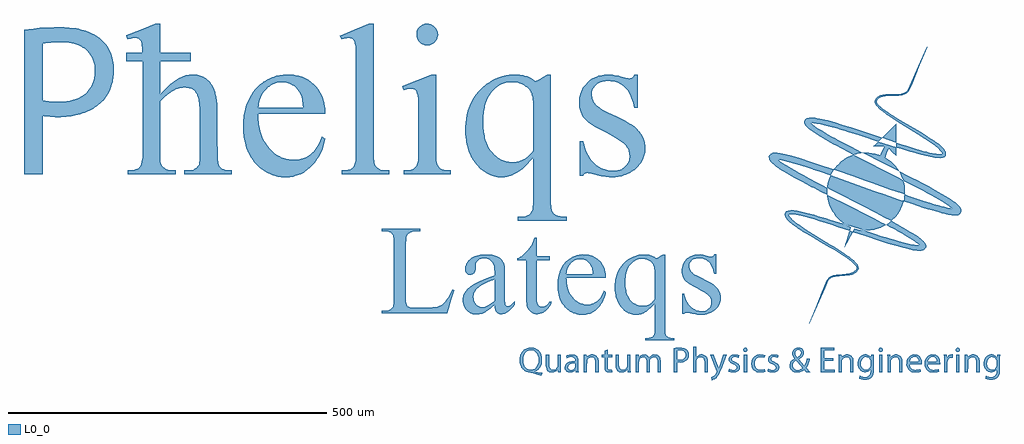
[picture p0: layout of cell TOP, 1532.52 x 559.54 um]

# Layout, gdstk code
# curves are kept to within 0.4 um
import gdstk
lib = gdstk.Library(unit=1e-6, precision=1e-09)
def R(c, l, rs):  # rectangles x0, y0, x1, y1
    for r in rs: c.add(gdstk.rectangle(r[:2], r[2:], *l))
def P(c, l, *ps):  # polygons
    for p in ps: c.add(gdstk.Polygon(p, *l))
L0_0 = (0, 0)

top = lib.new_cell('TOP')
R(top, L0_0, [(1130.4,12.533,1135.44,39.893), (1342.56,12.533,1347.6,39.893), (1463.76,12.533,1468.8,39.893), (1417.92,523.013,1418.16,523.253)])
P(top, L0_0, [(827.16,12.061),(822.6,14.38),(820.103,19.176),(819.604,22.254),(819.604,39.894),(824.644,39.894),(824.644,23.694),(825.145,20.605),(826.115,18.35),(827.4,17.119),(829.32,16.315),(832.211,16.315),(834.703,17.387),(837.72,21.535),(837.866,39.895),(842.88,39.895),(843.183,12.535),(838.607,12.535),(838.267,16.83),(835.625,13.976),(831.999,12.184)],
  [(936.6,12.061),(932.04,14.38),(929.543,19.176),(929.044,22.253),(929.044,39.893),(934.084,39.893),(934.084,23.693),(934.585,20.605),(935.555,18.35),(936.84,17.119),(938.76,16.315),(941.651,16.315),(944.143,17.387),(947.16,21.535),(947.306,39.895),(952.32,39.895),(952.623,12.535),(948.047,12.535),(947.707,16.829),(945.065,13.976),(941.439,12.184)],
  [(1080.273,0),(1079.058,4.231),(1082.52,5.892),(1086.175,9.533),(1087.92,14.003),(1077.6,39.893),(1083.068,39.893),(1090.861,18.479),(1097.937,39.773),(1103.28,39.909),(1094.652,17.097),(1090.227,7.64),(1087.491,4.013),(1084.681,1.741)],
  [(855.72,12.067),(851.314,14.196),(849.774,16.433),(849.12,21.084),(849.88,23.645),(852.247,26.526),(865.731,26.526),(858.232,25.498),(855.87,24.301),(854.627,22.671),(854.097,20.094),(854.653,18.076),(855.936,16.55),(857.4,15.913),(860.34,15.894),(862.363,16.608),(864.144,18.018),(865.553,20.574),(865.731,26.526),(852.247,26.526),(855.771,28.584),(859.8,29.629),(865.5,29.88),(865.264,32.825),(864.261,34.791),(862.785,36.033),(861,36.529),(857.381,36.529),(852.23,34.596),(851.072,37.95),(856.44,40.231),(863.4,40.246),(866.111,39.159),(868.328,37.208),(870.319,32.815),(871.02,12.535),(866.456,12.535),(865.876,15.893),(863.766,13.813),(861.191,12.552)],
  [(1115.454,12.053),(1111.08,12.08),(1105.87,13.943),(1107.13,17.726),(1109.88,16.392),(1115.535,15.893),(1118.629,17.892),(1119.16,19.503),(1118.835,21.43),(1117.629,22.863),(1108.823,27.388),(1107.149,29.693),(1106.574,31.745),(1106.826,34.523),(1108.053,36.945),(1110.503,39.147),(1113.24,40.231),(1119.24,40.253),(1123.018,38.749),(1121.604,35.082),(1118.817,36.357),(1114.68,36.571),(1112.548,35.453),(1111.387,32.517),(1112.245,30.709),(1121.765,25.741),(1123.883,22.013),(1123.919,18.619),(1123.148,16.356),(1120.819,13.808)],
  [(1177.134,12.053),(1172.76,12.08),(1167.55,13.943),(1168.81,17.726),(1171.56,16.392),(1177.215,15.893),(1180.309,17.892),(1180.84,19.503),(1180.515,21.43),(1179.309,22.863),(1170.503,27.388),(1168.829,29.693),(1168.254,31.745),(1168.506,34.523),(1169.733,36.945),(1172.183,39.147),(1174.92,40.231),(1180.92,40.253),(1184.698,38.749),(1183.284,35.082),(1180.497,36.357),(1176.36,36.571),(1174.228,35.453),(1173.067,32.517),(1173.925,30.709),(1183.445,25.741),(1185.563,22.013),(1185.599,18.619),(1184.828,16.356),(1182.499,13.808)],
  [(960.72,12.533),(960.409,39.912),(964.922,39.773),(965.062,35.524),(967.95,38.676),(971.114,40.234),(975.482,40.418),(978.193,39.397),(980.43,37.428),(981.735,35.142),(983.882,37.835),(986.51,39.671),(989.115,40.428),(993.249,40.23),(997.579,37.303),(999.842,31.176),(999.842,12.533),(995.091,12.533),(994.865,30.413),(993.242,34.442),(991.54,35.818),(988.922,36.364),(986.27,35.59),(984.272,33.88),(982.922,31.133),(982.777,12.533),(978.046,12.533),(977.843,30.893),(976.99,33.533),(974.762,35.762),(972.608,36.342),(968.67,35.097),(965.987,31.308),(965.526,12.533)],
  [(878.88,12.533),(878.577,39.893),(883.138,39.893),(883.564,35.48),(884.764,37.282),(887.573,39.414),(890.918,40.43),(895.145,40.228),(898.293,38.679),(900.425,36.308),(902.157,31.133),(902.157,12.533),(897.148,12.533),(896.989,31.133),(896.005,33.454),(894.652,35.149),(892.47,36.114),(889.557,36.131),(887.11,35.065),(885.14,33.053),(884.037,30.653),(883.89,12.533)],
  [(1279.2,12.533),(1278.897,39.893),(1283.458,39.893),(1283.884,35.48),(1285.084,37.282),(1287.893,39.414),(1291.238,40.43),(1295.465,40.228),(1298.613,38.679),(1300.745,36.308),(1302.477,31.133),(1302.477,12.533),(1297.468,12.533),(1297.309,31.133),(1296.325,33.454),(1294.972,35.149),(1292.79,36.114),(1289.877,36.131),(1287.43,35.065),(1285.46,33.053),(1284.357,30.653),(1284.21,12.533)],
  [(1356,12.533),(1355.697,39.893),(1360.258,39.893),(1360.684,35.48),(1361.884,37.282),(1364.693,39.414),(1368.038,40.43),(1372.265,40.228),(1375.413,38.679),(1377.545,36.308),(1379.277,31.133),(1379.277,12.533),(1374.268,12.533),(1374.109,31.133),(1373.125,33.454),(1371.772,35.149),(1369.59,36.114),(1366.677,36.131),(1364.23,35.065),(1362.26,33.053),(1361.157,30.653),(1361.01,12.533)],
  [(1477.2,12.533),(1476.897,39.893),(1481.458,39.893),(1481.884,35.48),(1483.084,37.282),(1485.893,39.414),(1489.238,40.43),(1493.465,40.228),(1496.613,38.679),(1498.745,36.308),(1500.477,31.133),(1500.477,12.533),(1495.468,12.533),(1495.309,31.133),(1494.325,33.454),(1492.972,35.149),(1490.79,36.114),(1487.877,36.131),(1485.43,35.065),(1483.46,33.053),(1482.357,30.653),(1482.21,12.533)],
  [(1396.68,12.062),(1391.24,14.027),(1388.171,16.898),(1386.513,20.211),(1385.697,23.88),(1385.947,29.453),(1387.195,33.331),(1389.69,36.773),(1397.16,36.773),(1393.254,34.901),(1391.71,32.656),(1390.551,28.856),(1405.005,28.853),(1403.697,33.968),(1401.644,36.021),(1399.113,36.773),(1389.69,36.773),(1391.522,38.475),(1394.489,39.878),(1397.16,40.432),(1401.48,40.19),(1404.12,39.177),(1406.483,37.373),(1408.373,34.598),(1409.573,31.133),(1409.825,25.253),(1390.505,25.253),(1390.848,22.502),(1391.776,20.023),(1393.727,17.806),(1395.788,16.598),(1399.32,15.849),(1407.422,17.213),(1408.255,13.715),(1403.64,12.248)],
  [(1425.24,12.062),(1419.8,14.027),(1416.731,16.898),(1415.073,20.211),(1414.257,23.88),(1414.507,29.453),(1415.755,33.331),(1418.25,36.773),(1425.72,36.773),(1421.814,34.901),(1420.27,32.656),(1419.111,28.856),(1433.565,28.853),(1432.257,33.968),(1430.204,36.021),(1427.673,36.773),(1418.25,36.773),(1420.082,38.475),(1423.049,39.878),(1425.72,40.432),(1430.04,40.19),(1432.68,39.177),(1435.043,37.373),(1436.933,34.598),(1438.133,31.133),(1438.385,25.253),(1419.065,25.253),(1419.408,22.502),(1420.336,20.023),(1422.287,17.806),(1424.348,16.598),(1427.88,15.849),(1435.982,17.213),(1436.815,13.715),(1432.2,12.248)],
  [(1322.904,0.774),(1317.72,0.812),(1311.855,2.507),(1311.315,3.157),(1312.379,6.414),(1312.742,6.812),(1315.088,5.622),(1320.6,4.683),(1323.863,5.078),(1326.71,6.595),(1328.821,10.014),(1329.36,16.906),(1327.247,14.556),(1322.059,12.534),(1316.28,13.274),(1313.71,14.814),(1311.144,17.576),(1309.693,20.616),(1308.967,23.694),(1308.967,28.254),(1309.673,31.614),(1311.437,35.214),(1312.697,36.462),(1322.16,36.462),(1317.562,34.989),(1315.866,33.113),(1314.497,30.173),(1313.945,26.58),(1315.202,20.573),(1316.879,18.301),(1321.08,16.377),(1323.885,16.611),(1327.852,19.248),(1329.24,22.253),(1329.24,30.893),(1328.214,33.112),(1326.393,35.128),(1324.505,36.091),(1312.697,36.462),(1314.839,38.584),(1320.097,40.435),(1324.332,40.193),(1327.401,38.682),(1329.777,36.082),(1330.079,39.894),(1334.519,39.894),(1334.247,12.174),(1333.388,8.574),(1331.961,5.547),(1329.387,3.013),(1326.359,1.543)],
  [(1447.334,12.529),(1444.8,12.533),(1444.489,39.893),(1448.831,39.893),(1449.137,34.493),(1452.297,38.884),(1454.75,40.218),(1458.488,40.435),(1458.488,35.573),(1455.248,35.558),(1453.088,34.582),(1450.495,31.129),(1449.854,28.729),(1449.854,12.529)],
  [(1520.904,0.774),(1515.72,0.812),(1509.855,2.507),(1509.315,3.157),(1510.379,6.414),(1510.742,6.812),(1513.088,5.622),(1518.6,4.683),(1521.863,5.078),(1524.71,6.595),(1526.821,10.014),(1527.36,16.906),(1525.247,14.556),(1520.059,12.534),(1514.28,13.274),(1511.71,14.814),(1509.144,17.576),(1507.693,20.616),(1506.967,23.694),(1506.967,28.254),(1507.673,31.614),(1509.437,35.214),(1510.697,36.462),(1520.16,36.462),(1515.562,34.989),(1513.866,33.113),(1512.497,30.173),(1511.945,26.58),(1513.202,20.573),(1514.879,18.301),(1519.08,16.377),(1521.885,16.611),(1525.852,19.248),(1527.24,22.253),(1527.24,30.893),(1526.214,33.112),(1524.393,35.128),(1522.505,36.091),(1510.697,36.462),(1512.839,38.584),(1518.097,40.435),(1522.332,40.193),(1525.401,38.682),(1527.777,36.082),(1528.079,39.894),(1532.519,39.894),(1532.247,12.174),(1531.388,8.574),(1529.961,5.547),(1527.387,3.013),(1524.359,1.543)],
  [(1158.26,12.054),(1153.32,12.094),(1150.51,12.774),(1147.207,14.51),(1144.542,17.196),(1142.913,20.452),(1142.096,24.124),(1142.369,29.454),(1144.625,34.728),(1147.8,37.889),(1151.278,39.621),(1154.947,40.437),(1160.52,40.183),(1163.76,39.155),(1162.732,35.214),(1160.04,36.117),(1155.409,36.356),(1152.001,35.321),(1149.48,33.27),(1147.736,29.89),(1147.128,26.334),(1147.66,22.627),(1148.886,20.035),(1150.825,17.832),(1154.031,16.254),(1159.8,16.289),(1162.975,17.105),(1163.787,13.557)],
  [(920.856,12.053),(916.92,12.076),(914.559,12.998),(912.918,14.573),(911.52,18.797),(911.52,36.053),(907.2,36.053),(907.2,39.893),(911.52,39.893),(911.52,46.554),(916.32,47.865),(916.32,39.893),(923.52,39.893),(923.52,36.053),(916.273,36.053),(916.451,19.373),(917.475,17.134),(918.702,16.33),(922.98,16.537),(923.28,12.573)],
  [(1131.96,44.426),(1130.423,45.392),(1129.68,46.829),(1129.68,48.317),(1130.39,49.691),(1131.665,50.693),(1133.784,50.693),(1135.192,49.965),(1135.92,48.557),(1135.92,46.366),(1134.33,44.631)],
  [(1251.36,12.533),(1251.36,50.693),(1272,50.693),(1272,46.613),(1256.4,46.613),(1256.4,34.373),(1271.04,34.373),(1271.04,30.293),(1256.4,30.293),(1256.4,16.613),(1272.72,16.613),(1272.72,12.533)],
  [(1344.12,44.426),(1342.583,45.392),(1341.84,46.829),(1341.84,48.317),(1342.55,49.691),(1343.825,50.693),(1345.944,50.693),(1347.352,49.965),(1348.08,48.557),(1348.08,46.366),(1346.49,44.631)],
  [(1465.32,44.426),(1463.783,45.392),(1463.04,46.829),(1463.04,48.317),(1463.75,49.691),(1465.025,50.693),(1467.144,50.693),(1468.552,49.965),(1469.28,48.557),(1469.28,46.366),(1467.69,44.631)],
  [(1023,12.529),(1020.48,12.533),(1020.48,46.89),(1026.971,46.89),(1025.52,46.571),(1025.52,32.003),(1031.256,31.733),(1035.96,33.371),(1037.736,35.213),(1038.805,37.613),(1038.84,40.973),(1038.146,43.373),(1035.673,45.851),(1032.36,46.89),(1020.48,46.89),(1020.48,50.204),(1025.88,50.929),(1032.74,50.929),(1036.44,50.191),(1039.815,48.555),(1042.067,46.335),(1043.548,43.327),(1044.067,39.831),(1043.52,35.929),(1040.594,31.236),(1037.798,29.337),(1031.494,27.601),(1025.52,27.769),(1025.52,12.529)],
  [(1216.241,12.053),(1211.64,12.094),(1206.378,14.093),(1203.96,16.51),(1202.172,21.293),(1202.895,27.026),(1204.341,29.554),(1205.768,31.022),(1211.612,31.022),(1208.658,28.349),(1207.086,25.155),(1207.104,21.533),(1208.184,19.133),(1211.881,16.3),(1216.277,15.893),(1219.183,16.797),(1222.384,19.232),(1211.911,30.893),(1205.768,31.022),(1209.607,33.823),(1206.631,39.533),(1206.613,44.093),(1208.643,47.872),(1215.72,47.872),(1213.577,47.287),(1211.802,45.512),(1210.987,42.708),(1212.247,37.853),(1213.93,35.565),(1216.68,37.301),(1218.999,39.533),(1219.907,41.289),(1220.212,43.193),(1219.459,45.78),(1217.88,47.306),(1215.72,47.872),(1208.643,47.872),(1210.115,49.482),(1213.307,51.053),(1218.597,51.053),(1221.259,49.805),(1222.943,48.326),(1224.357,45.773),(1224.357,40.493),(1222.989,37.893),(1220.517,35.424),(1216.335,32.87),(1225.297,22.407),(1226.889,25.019),(1229.103,33.413),(1233.597,33.413),(1232.215,26.813),(1230.69,22.873),(1228.301,19.213),(1234.437,12.653),(1228.437,12.503),(1225.006,16.192),(1219.879,12.984)],
  [(811.8,7.045),(795.48,12.008),(791.937,12.302),(788.28,13.52),(783.321,16.973),(781.148,19.85),(778.469,26.813),(778.469,35.693),(779.506,39.533),(781.733,43.977),(784.672,47.155),(796.943,47.155),(793.325,46.902),(788.193,44.174),(784.778,38.667),(783.788,34.973),(783.746,28.253),(784.61,24.893),(786.459,21.015),(789.247,18.121),(794.285,16.134),(798.36,16.32),(801.092,17.357),(803.675,19.271),(805.414,21.551),(807.898,28.253),(807.913,34.973),(805.09,42.413),(802.202,45.293),(799.48,46.611),(796.943,47.155),(784.672,47.155),(788.323,49.645),(792.355,50.998),(798.373,51.233),(802.435,50.212),(808.071,46.609),(810.26,43.853),(812.137,40.013),(813.223,35.693),(813.208,28.013),(812.138,23.712),(808.289,17.356),(802.526,13.778),(813.593,11.271)],
  [(1050.48,12.533),(1050.48,52.613),(1055.52,52.613),(1055.52,35.536),(1057.091,37.613),(1059.976,39.555),(1062.762,40.431),(1066.754,40.222),(1069.889,38.679),(1072.02,36.308),(1073.049,34.12),(1073.753,31.133),(1073.753,12.533),(1068.713,12.533),(1068.713,29.55),(1068.173,32.093),(1067.04,34.343),(1065.471,35.54),(1061.153,36.136),(1058.753,35.07),(1056.911,33.294),(1055.633,30.894),(1055.492,12.534)],
  [(998.517,62.448),(975.84,62.453),(975.84,65.98),(984.842,67.025),(987.386,68.478),(989.247,71.356),(990.035,74.813),(990.493,83.933),(990.361,120.779),(981.241,111.035),(972.878,105.176),(965.401,102.687),(956.761,102.687),(951.961,103.971),(946.201,106.846),(942.841,109.332),(937.032,115.19),(933.572,120.364),(929.524,130.372),(927.77,141.055),(927.785,151.135),(928.578,157.375),(931.701,168.415),(937.467,178.685),(944.761,186.598),(950.275,190.67),(971.16,190.67),(964.188,189.701),(960.191,188.159),(955.8,185.238),(951.72,181.122),(947.485,173.769),(945.869,168.835),(944.308,159.053),(944.308,147.773),(945.869,138.413),(947.491,133.544),(952.169,125.693),(956.075,121.853),(959.402,119.633),(966.362,116.93),(974.76,116.697),(978.828,117.672),(985.32,121.58),(990.48,127.187),(990.472,168.413),(989.995,175.437),(989.04,179.213),(987.333,182.695),(984.634,185.61),(981.72,187.677),(975.72,190.079),(971.16,190.67),(950.275,190.67),(956.761,194.159),(961.081,195.688),(970.201,197.326),(976.921,197.326),(985.321,195.425),(992.485,191.244),(1003.204,197.328),(1006.561,197.328),(1006.561,79.128),(1007.044,73.608),(1009.209,68.978),(1011.815,67.183),(1021.197,65.957),(1021.197,62.448)],
  [(707.64,103.297),(703.321,104.257),(697.202,107.562),(694.154,110.61),(691.134,115.604),(689.212,123.053),(689.236,129.533),(691.299,136.489),(694.041,140.589),(700.68,146.781),(706.44,150.562),(715.32,155.04),(723.177,158.426),(738.96,158.426),(725.64,152.893),(714.883,146.901),(711.334,144.002),(707.319,138.413),(705.553,131.453),(706.565,124.733),(708.553,120.653),(712.44,116.757),(715.517,115.208),(718.44,114.572),(723.916,115.289),(727.56,116.728),(738.96,124.38),(738.96,158.426),(723.177,158.426),(739.032,164.542),(738.017,178.733),(735.496,185.453),(732.36,188.586),(725.64,191.175),(719.64,191.197),(716.52,190.36),(713.958,189.116),(710.879,186.236),(709.08,182.589),(709.196,173.692),(708.681,170.812),(707.175,167.98),(704.849,166.142),(702.393,165.412),(699.126,165.412),(695.054,167.587),(693.528,169.805),(692.641,172.655),(692.641,177.052),(693.347,180.049),(696.805,186.16),(700.433,189.803),(703.437,192.083),(711.233,195.602),(721.415,197.332),(729.236,197.332),(740.074,195.439),(746.945,192.229),(750.727,188.615),(752.84,185.212),(754.192,181.021),(755.02,173.212),(755.262,124.012),(756.342,118.024),(758.103,116.263),(762.024,116.408),(770.393,123.953),(770.393,118.18),(763.073,109.905),(758.839,106.622),(754.583,104.492),(750.914,103.676),(746.753,103.902),(743.995,104.966),(741.453,107.289),(740.143,109.697),(738.678,117.652),(725.153,107.674),(719.596,104.686),(714.833,103.433)],
  [(879.965,102.536),(873.24,102.58),(866.083,104.006),(857.701,107.808),(853.853,110.573),(849.327,114.852),(843.798,122.471),(839.564,133.133),(837.96,142.013),(837.975,156.173),(840.07,167.213),(841.967,172.733),(847.325,181.937),(850.685,185.867),(855.92,190.218),(876.365,190.218),(870.605,190.189),(866.943,189.207),(860.285,185.14),(857.374,182.093),(853.983,176.333),(851.765,166.613),(893.04,166.613),(891.565,177.293),(889.481,181.613),(883.877,187.232),(876.365,190.218),(855.92,190.218),(863.885,194.664),(868.205,196.099),(876.595,197.399),(884.765,197.118),(889.218,196.168),(897.725,192.534),(901.832,189.451),(906.184,184.898),(910.798,176.756),(913.237,167.213),(913.516,160.853),(851.69,160.853),(852.716,148.827),(855.398,139.657),(857.585,135.293),(860.525,130.989),(864.797,126.517),(871.691,121.775),(875.165,120.33),(884.442,118.779),(893.405,120.329),(897.302,122.153),(903.512,127.373),(908.154,134.774),(910.503,140.231),(913.476,138.413),(911.727,130.493),(909.569,125.213),(905.924,118.973),(900.243,112.013),(896.765,108.949),(888.843,104.485)],
  [(1059.72,102.558),(1039.472,106.192),(1037.32,105.15),(1036.549,103.973),(1033.2,103.973),(1033.2,135.893),(1036.508,135.893),(1039.018,127.133),(1041.114,122.635),(1043.858,118.511),(1047.215,114.977),(1050.849,112.239),(1055.16,110.034),(1061.16,108.441),(1067.16,108.441),(1070.28,109.261),(1076.01,112.973),(1079.097,118.493),(1079.342,123.657),(1078.754,126.646),(1075.905,131.801),(1073.4,134.267),(1063.32,140.78),(1045.32,150.485),(1038.028,156.31),(1035.838,159.223),(1033.214,166.395),(1032.707,171.376),(1034.181,180.413),(1036.764,185.693),(1039.9,189.586),(1043.4,192.575),(1050.809,196.174),(1054.92,197.111),(1061.691,197.401),(1066.2,196.833),(1077.72,193.897),(1080.924,193.853),(1083.937,197.333),(1087.2,197.333),(1087.2,166.853),(1083.858,166.853),(1081.185,175.56),(1078.629,180.937),(1074.868,185.933),(1072.013,188.242),(1068.257,190.13),(1060.2,191.627),(1052.609,190.385),(1049.659,188.813),(1046.801,186.173),(1045.237,183.734),(1044.416,180.909),(1045.42,174.282),(1048.561,169.328),(1055.4,164.393),(1078.44,152.977),(1082.52,150.235),(1086.502,146.89),(1089.65,143.213),(1093.195,135.921),(1093.975,131.453),(1093.721,125.213),(1092.524,120.596),(1088.809,113.933),(1084.403,109.579),(1075.992,104.714),(1068.84,102.728)],
  [(803.88,103.729),(796.2,106.687),(792.337,110.573),(789.589,117.533),(788.88,123.53),(788.88,187.973),(774.72,187.973),(774.735,191.213),(781.567,194.974),(785.887,198.482),(792.914,206.333),(796.17,211.133),(801.926,223.973),(804.963,223.973),(805.086,194.813),(825.846,194.689),(825.846,187.974),(804.94,187.974),(805.129,125.214),(805.935,121.134),(807.381,118.165),(809.78,116.008),(814.279,114.955),(817.867,115.753),(820.686,117.442),(823.209,119.92),(824.766,122.932),(828.719,122.932),(826.12,116.937),(823.5,112.918),(820.206,109.421),(813.006,104.981),(809.646,103.921)],
  [(561.6,105.173),(561.6,108.709),(570.12,108.978),(573,109.778),(575.617,111.053),(578.382,113.608),(580.336,119.869),(580.828,127.613),(580.639,220.973),(579.107,227.979),(577.719,230.168),(575.138,232.117),(570.12,233.857),(561.6,234.118),(561.6,237.653),(621.84,237.653),(621.84,234.126),(609.815,233.101),(606.515,231.954),(603.13,229.703),(600.708,225.957),(600.011,222.413),(599.493,212.813),(599.683,123.053),(601.045,117.625),(602.897,115.52),(605.4,114.317),(610.44,113.693),(638.28,113.711),(649.887,115.464),(656.382,118.623),(659.88,121.404),(663.387,125.212),(666.437,129.773),(672.297,141.773),(675.372,141.348),(664.305,105.173)],
  [(1369.674,373.047),(1347.314,380.584),(1351.292,384.415),(1355.271,388.247),(1362.472,395.296),(1369.674,402.344)],
  [(1232.803,88.733),(1261.961,158.748),(1266.791,162.84),(1270.68,164.404),(1278.84,165.87),(1291.08,166.867),(1301.162,169.238),(1305.88,172.973),(1307.28,175.72),(1307.28,176.947),(1305.788,179.933),(1299.72,185.961),(1286.28,195.597),(1227.24,230.762),(1206.84,244.43),(1198.265,252.173),(1196.159,255.115),(1194.948,257.853),(1194.661,260.606),(1195.429,263.248),(1197.208,265.08),(1199.64,266.186),(1203.942,266.752),(1220.52,264.498),(1252.44,256.093),(1289.119,244.612),(1282.44,249.77),(1276.975,255.053),(1269.309,265.373),(1263.813,277.784),(1261.19,290.936),(1239.935,301.762),(1261.629,301.762),(1261.32,291.197),(1261.821,290.696),(1353.24,244.158),(1361.558,249.935),(1261.629,301.762),(1239.935,301.762),(1209.72,317.89),(1189.32,329.891),(1174.845,340.366),(1171.653,343.853),(1170.391,346.398),(1183.802,346.398),(1204.68,332.625),(1260.84,302.246),(1261.44,302.213),(1263.587,313.891),(1266.486,321.487),(1239.493,330.737),(1271.779,330.737),(1266.838,321.503),(1380.358,281.379),(1381.2,281.333),(1382.696,291.533),(1320.646,313.485),(1380.872,313.485),(1382.606,304.253),(1383,291.603),(1435.207,274.625),(1457.76,269.333),(1452.6,273.361),(1437,283.174),(1380.872,313.485),(1320.646,313.485),(1271.779,330.737),(1239.493,330.737),(1213.149,339.189),(1192.92,344.702),(1183.802,346.398),(1170.391,346.398),(1169.708,350.653),(1170.506,353.055),(1172.349,355.149),(1177.32,357.042),(1187.4,356.414),(1195.576,354.786),(1216.748,349.03),(1271.813,330.894),(1276.44,336.882),(1285.56,345.21),(1291.083,348.921),(1302.04,353.911),(1296.46,356.957),(1316.798,356.957),(1309.8,355.952),(1302.633,353.865),(1380.12,313.989),(1378.614,318.893),(1374.024,328.043),(1316.798,356.957),(1296.46,356.957),(1258.92,377.408),(1238.04,390.473),(1229.516,397.271),(1226.824,400.494),(1225.369,403.548),(1225.369,406.734),(1227.913,410.48),(1229.88,411.633),(1232.994,412.367),(1239.329,412.367),(1253.279,409.97),(1273.232,404.662),(1347.314,380.584),(1341.35,374.675),(1295.16,389.542),(1259.4,399.854),(1239.96,403.699),(1235.4,403.994),(1238.04,401.488),(1247.4,394.927),(1263.073,385.536),(1316.574,357.196),(1331.16,356.668),(1344.421,353.094),(1350.96,367.224),(1333.56,366.98),(1341.35,374.675),(1369.654,365.607),(1369.993,352.127),(1357.604,364.4),(1352.172,349.393),(1360.706,343.523),(1365.479,339.221),(1374.096,328.081),(1430.759,298.55),(1459.319,281.27),(1468.839,273.317),(1470.989,270.304),(1471.919,267.66),(1471.919,264.604),(1470.451,261.667),(1466.743,259.292),(1463.727,258.699),(1456.679,258.98),(1451.114,259.95),(1425.959,266.46),(1381.232,280.968),(1379.22,274.728),(1374.185,264.426),(1368.623,256.728),(1361.965,249.94),(1395.719,230.62),(1403.159,225.718),(1412.484,218.331),(1415.065,215.208),(1416.548,212.201),(1416.578,208.964),(1413.992,205.217),(1408.919,203.245),(1402.199,203.284),(1395.239,204.311),(1380.599,207.679),(1357.323,214.404),(1301.838,232.608),(1288.354,208.546),(1296.438,234.506),(1268.27,243.867),(1291.131,243.867),(1298.432,240.005),(1296.67,234.744),(1300.68,233.132),(1301.516,233.093),(1303.924,237.893),(1315.972,235.855),(1291.131,243.867),(1268.222,243.883),(1353.589,243.883),(1347.72,240.804),(1336.92,236.984),(1328.52,235.467),(1318.44,235.17),(1373.4,218.246),(1398.12,212.496),(1406.52,211.752),(1398.675,218.034),(1379.88,229.552),(1353.589,243.883),(1268.222,243.883),(1235.399,254.159),(1220.759,258.015),(1207.319,260.511),(1200.719,260.198),(1200.719,259.128),(1202.208,256.53),(1206.595,251.985),(1217.276,243.669),(1229.395,235.568),(1277.875,205.655),(1295.875,193.417),(1306.79,183.84),(1310.256,178.248),(1310.447,175.044),(1309.266,172.488),(1307.155,169.75),(1301.785,166.352),(1294.195,164.483),(1279.795,163.47),(1271.696,162.261),(1265.528,159.366),(1262.944,156.576)],
  [(405.96,318.825),(393.48,320.999),(387.24,323.118),(380.04,326.641),(368.765,334.973),(358.994,345.773),(355.288,351.345),(351.411,358.973),(349.25,364.493),(346.339,375.053),(344.427,389.933),(344.123,398.333),(344.646,408.653),(346.573,422.093),(348.264,428.972),(350.438,435.481),(354.914,445.133),(362.249,455.933),(370.92,464.59),(375.559,468.105),(404.76,468.105),(399.24,467.524),(390.6,464.656),(383.056,459.667),(379.375,456.173),(373.889,448.612),(371.789,444.173),(368.855,434.436),(367.922,427.733),(438.281,427.733),(437.253,438.413),(434.948,447.773),(429.96,456.161),(425.628,460.493),(421.255,463.482),(416.908,465.674),(409.08,467.774),(375.559,468.105),(384.852,473.558),(396.016,477.639),(407.4,479.675),(421.08,479.693),(431.4,477.854),(441.72,474.008),(449.533,469.23),(454.2,465.475),(459.325,460.168),(465.352,451.433),(469.894,440.766),(472.081,431.275),(473.115,418.133),(367.844,418.133),(368.163,408.974),(370.095,394.973),(371.822,388.253),(376.035,377.572),(379.252,371.933),(385.751,363.533),(393.96,355.921),(399.24,352.405),(408.344,348.249),(413.64,346.858),(423.96,345.843),(430.44,346.394),(440.808,349.213),(449.88,354.503),(455.886,360.413),(461.373,368.301),(467.812,382.373),(473.087,379.047),(470.206,366.894),(464.231,353.214),(458.668,344.574),(449.724,334.134),(444.36,329.52),(439.08,326.017),(428.987,321.427),(417.48,318.966)],
  [(596.16,323.333),(596.16,329.272),(603,329.603),(610.641,331.255),(612.947,332.735),(615.584,335.584),(617.778,340.013),(619.32,350.093),(619.32,432.413),(618.191,447.053),(617.09,451.416),(614.425,455.735),(611.643,457.201),(605.54,457.733),(596.292,455.348),(593.806,461.345),(639.568,479.813),(647.043,479.813),(647.043,353.933),(647.536,346.013),(649.243,338.333),(653.161,333.097),(656.006,331.246),(659.161,330.267),(670.081,329.272),(670.081,323.333)],
  [(775.2,250.613),(775.2,256.538),(783.48,256.84),(790.92,258.574),(793.705,260.054),(795.988,262.551),(798.469,268.253),(799.675,279.533),(799.675,349.764),(789.235,338.141),(782.755,332.136),(773.799,325.51),(764.035,320.971),(754.915,318.893),(744.115,318.919),(732.835,321.905),(726.595,324.964),(717.475,331.574),(707.493,342.414),(701.668,351.765),(697.443,362.094),(694.584,373.614),(693.115,387.27),(693.611,404.334),(695.539,416.574),(699.285,429.054),(704.989,441.052),(713.843,453.294),(722.035,461.489),(726.89,465.385),(730.962,468.152),(770.044,468.152),(761.884,468.131),(751.812,465.632),(747.484,463.572),(740.539,458.814),(732.982,450.846),(729.794,446.094),(726.752,439.854),(723.145,427.614),(721.338,414.894),(721.323,395.694),(723.094,383.183),(726.522,371.694),(732.086,361.407),(735.801,356.789),(741.283,351.534),(749.163,346.462),(753.931,344.423),(759.243,343.056),(765.003,342.34),(771.738,342.53),(781.864,345.138),(788.76,349.165),(793.11,352.816),(799.68,360.311),(799.68,435.053),(798.681,443.933),(796.548,451.062),(793.013,456.686),(789.964,459.74),(782.044,464.879),(777.724,466.58),(770.044,468.152),(730.962,468.152),(743.635,474.837),(751.315,477.371),(761.635,479.319),(775.318,479.814),(785.845,478.136),(794.803,474.803),(803.039,469.463),(809.635,472.686),(821.483,479.814),(827.275,479.814),(827.275,276.894),(827.762,271.134),(828.496,267.054),(831.702,261.637),(834.35,259.56),(839.385,257.566),(851.99,256.552),(851.99,250.614)],
  [(928.339,318.773),(919.32,318.857),(909.72,319.956),(883.748,325.567),(879.627,323.767),(877.84,321.173),(872.4,321.173),(872.4,375.413),(877.911,375.413),(881.069,363.533),(883.262,358.013),(888.479,348.581),(891.947,344.093),(896.04,340.007),(904.2,334.181),(914.124,330.046),(925.13,328.544),(930.864,329.088),(938.324,331.499),(942.6,334.33),(947.812,340.253),(950.65,347.661),(950.948,352.54),(950.351,357.29),(947.955,364.009),(945.414,367.907),(942.167,371.349),(928.228,380.993),(902.52,394.54),(891.48,401.175),(883.563,407.213),(879.907,410.899),(875.707,417.17),(872.59,426.136),(871.612,437.956),(872.18,443.453),(874.821,453.053),(877.693,458.813),(880.92,463.357),(889.32,471.346),(897.24,475.913),(907.8,479.088),(921.254,479.813),(933.96,477.666),(950.952,473.53),(955.121,474.711),(958.463,479.693),(964.08,479.828),(964.08,427.958),(958.515,428.093),(954.918,439.853),(949.275,452.42),(945.969,457.373),(940.92,462.436),(933,467.064),(924.048,469.491),(917.88,470.026),(908.04,468.82),(901.56,466.078),(896.672,462.229),(892.776,456.71),(891.574,453.129),(891.293,449.154),(892.824,441.053),(894.933,436.733),(898.106,432.541),(904.904,427.053),(909.577,424.136),(943.8,407.254),(953.64,401.502),(958.92,397.55),(963.127,393.773),(969.33,386.211),(973.412,377.933),(974.657,373.619),(975.661,363.533),(974.108,352.733),(970.347,343.488),(964.02,335.067),(956.124,328.559),(944.76,322.397),(938.922,320.464)],
  [(1438.678,348.718),(1427.001,349.957),(1409.158,354.005),(1369.654,365.607),(1369.674,373.047),(1407.187,361.235),(1426.02,356.459),(1438.255,354.705),(1441.995,355.445),(1441.15,357.657),(1434.581,364.727),(1423.554,373.101),(1354.809,416.888),(1344.354,424.952),(1339.385,429.767),(1335.763,435.527),(1335.529,438.769),(1337.114,442.007),(1340.514,445.39),(1344.176,447.18),(1352.994,448.886),(1377.714,449.855),(1382.148,450.978),(1385.52,452.75),(1388.039,455.47),(1417.769,522.751),(1390.303,455.453),(1388.753,452.871),(1386.163,450.549),(1382.976,448.874),(1378.813,447.668),(1373.633,446.924),(1352.513,445.981),(1348.193,445.234),(1342.232,442.737),(1339.891,440.456),(1338.695,437.844),(1340.114,434.327),(1342.79,431.104),(1353.858,422.198),(1375.793,408.23),(1418.273,382.994),(1438.913,368.57),(1444.694,362.807),(1446.726,359.634),(1447.673,356.939),(1447.673,353.927),(1446.53,351.471),(1444.892,350.221),(1442.758,349.282)],
  [(14.76,323.33),(0,323.333),(0,530.755),(53.16,530.755),(35.542,529.486),(29.52,528.275),(29.52,439.305),(39.01,437.611),(46.68,437.078),(60.6,437.124),(67.365,437.815),(77.41,439.954),(83.16,441.905),(90.84,445.726),(98.28,451.519),(105.084,460.253),(108.891,468.893),(110.136,473.693),(111.441,485.852),(110.864,493.613),(109.696,499.402),(105.819,508.96),(102.688,513.662),(98.524,518.038),(90.6,523.577),(78.6,528.275),(65.16,530.482),(0,530.755),(0,549.893),(15.48,552.044),(35.4,553.726),(63.008,554.21),(77.64,552.97),(86.005,551.574),(100.884,547.227),(111.48,542.175),(116.76,538.645),(124.805,531.612),(132.277,521.69),(136.053,514.01),(139.657,501.965),(140.696,495.29),(140.932,481.834),(138.975,467.69),(135.568,456.89),(131.789,449.21),(128.594,444.41),(119.155,434.09),(108.555,426.393),(95.191,420.015),(80.52,415.75),(66.351,413.595),(57.777,413.027),(40.92,413.291),(29.52,415.01),(29.52,323.33)],
  [(536.283,323.326),(498.96,323.333),(498.96,329.268),(505.08,329.592),(511.56,330.788),(514.2,332.052),(517.57,335.453),(519.572,339.533),(521.141,347.933),(521.307,507.533),(520.268,526.973),(517.903,533.83),(514.193,536.912),(511.08,537.646),(504.6,536.905),(498.888,534.998),(496.115,540.886),(541.306,559.486),(548.88,559.486),(548.895,358.006),(549.342,346.932),(551.086,338.566),(553.224,335.108),(556.203,332.408),(559.563,330.796),(564.363,329.81),(573.603,329.239),(573.603,323.326)],
  [(200.76,323.322),(162.96,323.333),(162.96,329.268),(173.545,330.317),(179.96,332.972),(182.161,335.141),(184.087,339.053),(186.099,349.373),(186.267,497.693),(185.962,500.693),(160.56,500.693),(160.56,514.369),(185.88,514.493),(185.255,524.813),(184.56,528.923),(182.687,533.703),(180.303,535.933),(177.929,537.136),(174.84,537.7),(171.646,537.389),(163.146,534.987),(160.559,540.869),(205.911,559.493),(213.84,559.493),(213.84,514.373),(261.84,514.373),(261.84,500.693),(213.84,500.693),(213.84,448.283),(229.56,464.348),(235.08,468.962),(240.59,472.902),(248.097,476.624),(254.087,478.582),(259.32,479.62),(267.251,479.877),(272.229,479.298),(281.476,476.272),(285.418,473.933),(289.89,470.206),(295.43,463.192),(298.067,458.036),(300.69,450.173),(302.386,440.333),(303.662,424.253),(304.005,347.933),(304.822,342.748),(305.975,338.203),(307.511,335.081),(310.449,332.333),(317.16,329.82),(326.4,329.327),(326.4,323.327),(251.52,323.327),(251.52,329.327),(262.44,329.822),(268.44,331.662),(271.411,333.86),(274.789,339.261),(276.07,346.962),(276.277,416.082),(275.739,427.842),(274.067,440.802),(271.66,448.71),(267.9,454.275),(261.421,458.206),(252.012,459.721),(241.32,457.774),(235.777,455.414),(224.76,448.179),(213.824,438.077),(213.991,344.802),(214.576,340.962),(215.296,338.082),(220.92,332.409),(222.977,331.186),(231.24,329.597),(238.56,329.26),(238.56,323.322)],
  [(630.84,525.901),(627.801,526.591),(623.643,528.604),(619.063,533.213),(617.267,536.669),(616.32,540.37),(616.32,545.213),(617.049,548.333),(618.999,552.285),(622.106,555.641),(625.69,558.038),(629.633,559.319),(635.153,559.537),(638.753,558.782),(642.833,556.774),(647.393,552.173),(649.196,548.469),(650.171,542.573),(648.726,535.853),(646.913,532.733),(643.064,528.893),(636.833,526.062)])

lib.write_gds('TOP.gds')
